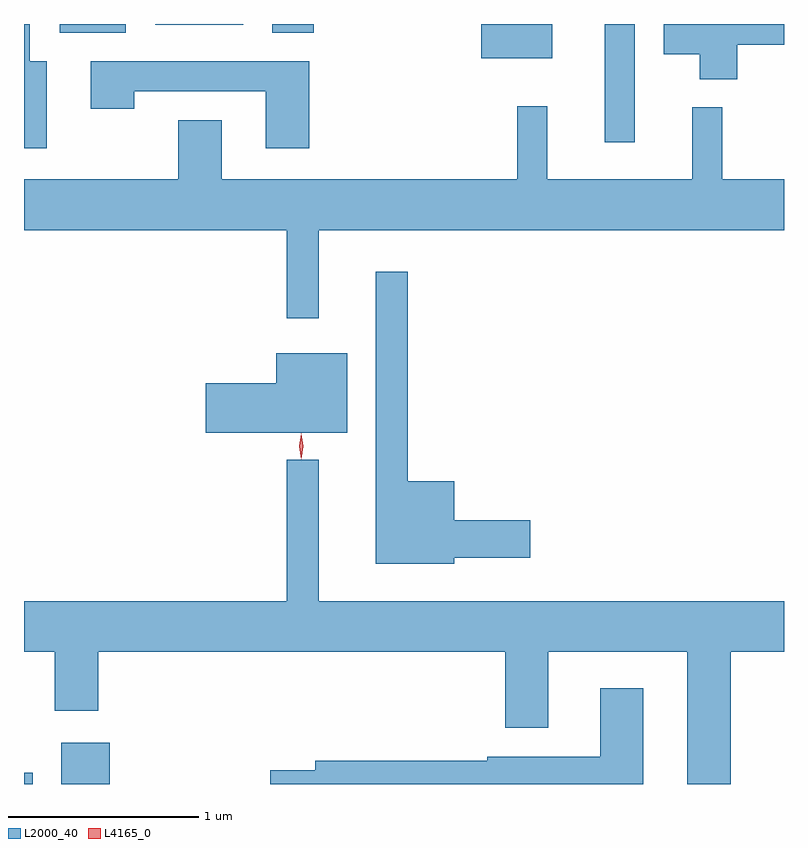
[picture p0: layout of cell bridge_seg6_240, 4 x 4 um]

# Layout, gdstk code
import gdstk
lib = gdstk.Library(unit=1e-6, precision=1e-09)
def R(c, l, rs):  # rectangles x0, y0, x1, y1
    for r in rs: c.add(gdstk.rectangle(r[:2], r[2:], *l))
def P(c, l, *ps):  # polygons
    for p in ps: c.add(gdstk.Polygon(p, *l))
L2000_40 = (2000, 40)
L4165_0 = (4165, 0)

bridge_seg6_240 = lib.new_cell('bridge_seg6_240')
R(bridge_seg6_240, L2000_40, [(1378.729,1575.981,1378.774,1576.039), (1378.926,1575.981,1379.179,1576.199), (1381.786,1579.358,1381.944,1579.981), (1381.136,1579.801,1381.509,1579.981), (1378.916,1579.936,1379.264,1579.981), (1380.036,1579.936,1380.254,1579.981), (1379.421,1579.976,1379.884,1579.981)])
P(bridge_seg6_240, L2000_40, [(1378.849,1579.784),(1378.759,1579.784),(1378.759,1579.981),(1378.729,1579.981),(1378.729,1579.326),(1378.849,1579.326)],
  [(1382.484,1579.871),(1382.729,1579.871),(1382.729,1579.981),(1382.096,1579.981),(1382.096,1579.821),(1382.286,1579.821),(1382.286,1579.691),(1382.484,1579.691)],
  [(1380.229,1579.784),(1379.081,1579.784),(1379.081,1579.536),(1379.309,1579.536),(1379.309,1579.626),(1380.001,1579.626),(1380.001,1579.326),(1380.229,1579.326)],
  [(1380.279,1578.896),(1382.729,1578.896),(1382.729,1579.164),(1382.404,1579.164),(1382.404,1579.543),(1382.246,1579.543),(1382.246,1579.164),(1381.484,1579.164),(1381.484,1579.548),(1381.326,1579.548),(1381.326,1579.164),(1379.769,1579.164),(1379.769,1579.474),(1379.541,1579.474),(1379.541,1579.164),(1378.729,1579.164),(1378.729,1578.896),(1380.111,1578.896),(1380.111,1578.433),(1380.279,1578.433)],
  [(1380.994,1577.171),(1381.394,1577.171),(1381.394,1577.369),(1380.994,1577.369),(1380.994,1577.574),(1380.749,1577.574),(1380.749,1578.678),(1380.581,1578.678),(1380.581,1577.141),(1380.994,1577.141)],
  [(1380.429,1578.249),(1380.056,1578.249),(1380.056,1578.089),(1379.686,1578.089),(1379.686,1577.831),(1380.429,1577.831)],
  [(1382.449,1576.676),(1382.729,1576.676),(1382.729,1576.944),(1380.279,1576.944),(1380.279,1577.688),(1380.111,1577.688),(1380.111,1576.944),(1378.729,1576.944),(1378.729,1576.676),(1378.891,1576.676),(1378.891,1576.366),(1379.119,1576.366),(1379.119,1576.676),(1381.261,1576.676),(1381.261,1576.276),(1381.489,1576.276),(1381.489,1576.676),(1382.221,1576.676),(1382.221,1575.981),(1382.449,1575.981)],
  [(1381.989,1576.484),(1381.761,1576.484),(1381.761,1576.124),(1381.166,1576.124),(1381.166,1576.104),(1380.261,1576.104),(1380.261,1576.054),(1380.026,1576.054),(1380.026,1575.981),(1381.989,1575.981)])
P(bridge_seg6_240, L4165_0, [(1380.188,1577.693),(1380.188,1577.694),(1380.178,1577.756),(1380.187,1577.819),(1380.187,1577.82),(1380.188,1577.819),(1380.198,1577.756),(1380.189,1577.694)],
  [(1380.188,1577.69),(1380.188,1577.69),(1380.178,1577.758),(1380.187,1577.825),(1380.188,1577.826),(1380.188,1577.825),(1380.198,1577.758),(1380.189,1577.69)])

lib.write_gds('bridge_seg6_240.gds')
